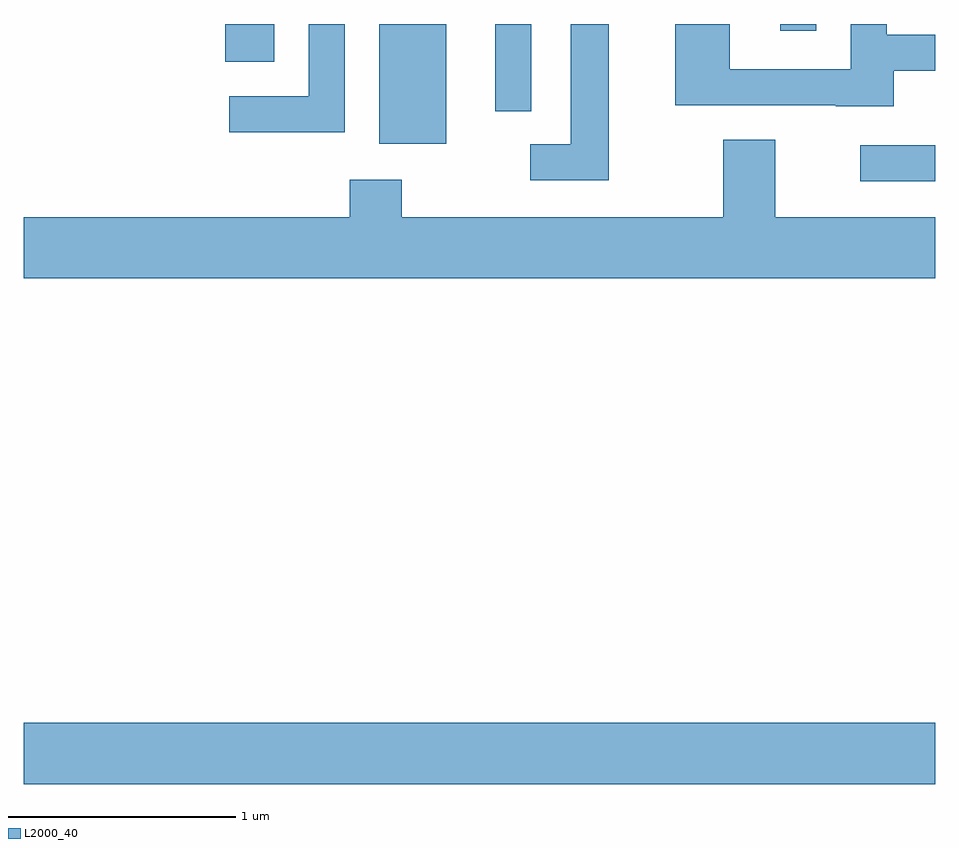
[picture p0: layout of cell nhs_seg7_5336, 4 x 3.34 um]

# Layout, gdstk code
import gdstk
lib = gdstk.Library(unit=1e-6, precision=1e-09)
def R(c, l, rs):  # rectangles x0, y0, x1, y1
    for r in rs: c.add(gdstk.rectangle(r[:2], r[2:], *l))
def P(c, l, *ps):  # polygons
    for p in ps: c.add(gdstk.Polygon(p, *l))
L2000_40 = (2000, 40)

nhs_seg7_5336 = lib.new_cell('nhs_seg7_5336')
R(nhs_seg7_5336, L2000_40, [(347.611,1780.916,351.611,1781.184), (351.283,1783.561,351.611,1783.719), (349.171,1783.726,349.464,1784.252), (349.681,1783.868,349.839,1784.252), (350.931,1784.223,351.089,1784.252)])
P(nhs_seg7_5336, L2000_40, [(348.709,1784.252),(348.126,1784.252),(348.126,1784.251),(348.496,1784.251),(348.496,1784.086),(348.709,1784.086)],
  [(351.429,1784.046),(351.611,1784.046),(351.611,1784.204),(351.399,1784.204),(351.399,1784.252),(351.241,1784.252),(351.241,1784.054),(350.709,1784.054),(350.709,1784.252),(350.471,1784.252),(350.471,1783.896),(351.175,1783.896),(351.175,1783.891),(351.429,1783.891)],
  [(350.179,1784.252),(350.011,1784.252),(350.011,1783.724),(349.833,1783.724),(349.833,1783.566),(350.179,1783.566)],
  [(349.019,1784.252),(348.861,1784.252),(348.861,1783.934),(348.513,1783.934),(348.513,1783.776),(349.019,1783.776)],
  [(351.611,1783.404),(350.909,1783.404),(350.909,1783.744),(350.681,1783.744),(350.681,1783.404),(349.269,1783.404),(349.269,1783.569),(349.041,1783.569),(349.041,1783.404),(347.611,1783.404),(347.611,1783.136),(351.611,1783.136)])

lib.write_gds('nhs_seg7_5336.gds')
